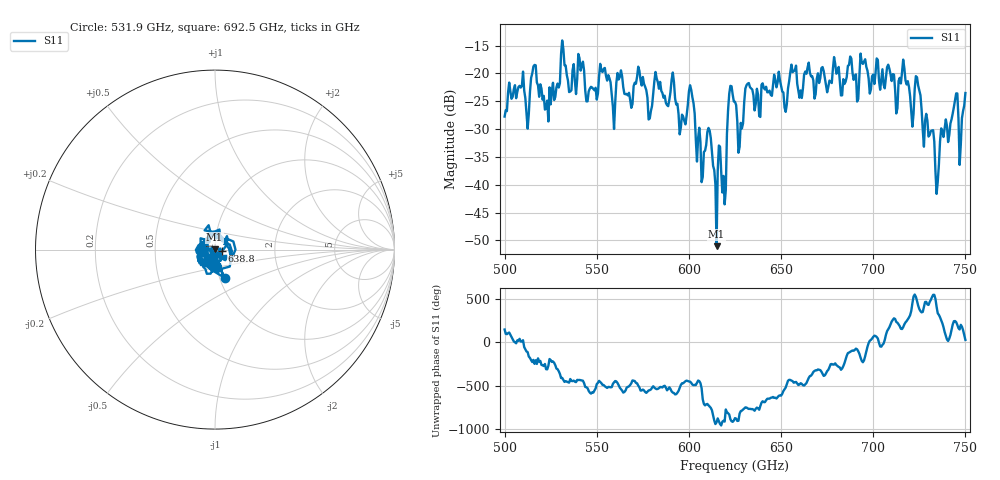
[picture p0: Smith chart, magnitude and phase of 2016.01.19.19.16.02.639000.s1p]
!Created with skrf (http://scikit-rf.org).
# GHz S RI R 50.0
!freq ReS11 ImS11
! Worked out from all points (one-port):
!   401 points, 500 GHz to 750 GHz, reference 50 ohm
!   lowest |S11| = -51.0 dB at 615 GHz (marker M1), VSWR 1.01, Z = 49.7 + j0.0946 ohm
!   |S11| at or under -10 dB: start of sweep to end of sweep
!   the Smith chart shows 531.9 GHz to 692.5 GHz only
!   S11 on the Smith chart (normalised r, x): 531.9 GHz: 1.06, -0.34; 638.8 GHz: 1.08, -0.02; 692.5 GHz: 0.87, -0.13
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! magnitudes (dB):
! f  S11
! 500 GHz  -27.7
! 508.8 GHz  -22.5
! 512.5 GHz  -29.9
! 515.6 GHz  -18.7
! 522.5 GHz  -26.3
! 531.2 GHz  -14.1
! 531.9 GHz  -15.6
! 545 GHz  -25.0
! 562.5 GHz  -20.6
! 593.8 GHz  -25.4
! 601.2 GHz  -22.9
! 605.6 GHz  -29.7
! 611.2 GHz  -30.3
! 615 GHz  -51.0
! 618.8 GHz  -38.4
! 621.9 GHz  -23.6
! 625 GHz  -25.1
! 628.1 GHz  -28.9
! 631.9 GHz  -21.8
! 638.8 GHz  -27.8
! 656.2 GHz  -19.7
! 687.5 GHz  -16.9
! 692.5 GHz  -20.3
! 718.8 GHz  -21.4
! 724.4 GHz  -22.2
! 734.4 GHz  -41.6
! 738.1 GHz  -31.4
! 750 GHz  -23.5
